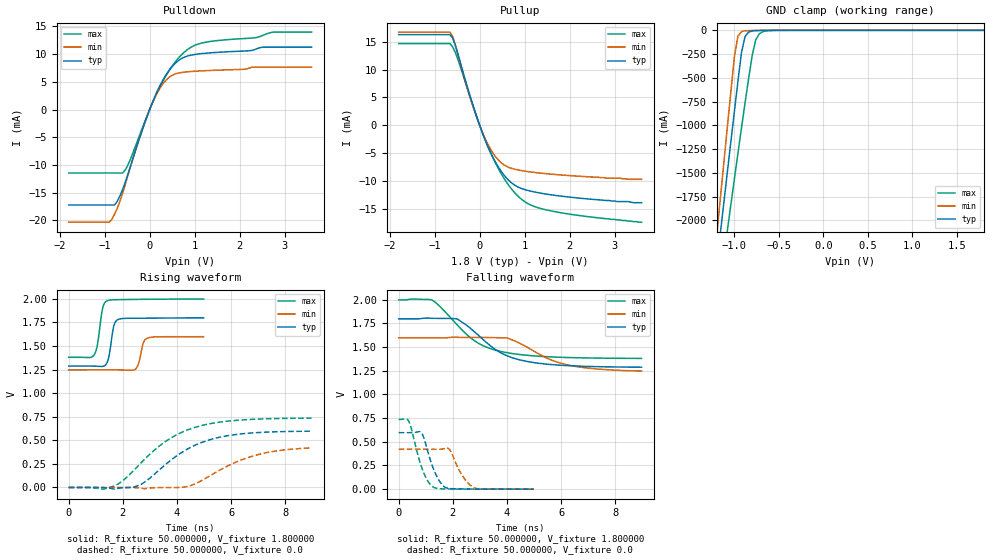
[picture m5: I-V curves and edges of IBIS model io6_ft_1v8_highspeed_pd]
| [Disclaimer]  This information is for modeling purpose only and is
| not guaranted.
| The information is subject to change without notice.
| [Copyright] Copyright 2018 STMicroelectronics Inc.
| From stm32g071_081_ufqfpn28_pd.ibs, stm32g071_081_ufqfpn28_pd, STMicroelectronics
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|   Model io6_ft_1v8_highspeed_pd
[Model]  io6_ft_1v8_highspeed_pd
Model_type I/O
Polarity   Non-Inverting
Enable   Active-Low
Vinl =   0.540000V
Vinh =   1.260000V
Vmeas =  0.900000V
Cref =   50.000000pF
Rref =   100.000000M
Vref =   0.0V
C_comp   1.277600pF   1.236700pF   1.315100pF
[Temperature Range]   25.000000   -40.000000   0.125000k
[Pullup Reference]   1.800000V   1.600000V   2.000000V
[Pulldown Reference]   0.0V   0.0V   0.0V
[POWER Clamp Reference]   1.800000V   1.600000V   2.000000V
[GND Clamp Reference]   0.0V   0.0V   0.0V
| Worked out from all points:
|   slope of the pulldown table from 0 to 0.27 V, typ, clamps not added: 54.7 ohm
|   slope of the pullup table from 0 to 0.27 V, typ, clamps not added: 50.6 ohm
|   GND clamp passes 1 mA (typ) near -0.66 V on its own axis
|   rising waveform, R_fixture 50.000000, V_fixture 1.800000: 20-80 % time 167ps typ, 169ps min, 181ps max; typ from 1.29 V to 1.8 V
|   rising waveform, R_fixture 50.000000, V_fixture 0.0: 20-80 % time 1.83ns typ, 1.87ns min, 1.92ns max; typ from 0 V to 0.597 V
|   falling waveform, R_fixture 50.000000, V_fixture 1.800000: 20-80 % time 1.51ns typ, 1.61ns min, 1.5ns max; typ from 1.8 V to 1.29 V
|   falling waveform, R_fixture 50.000000, V_fixture 0.0: 20-80 % time 438ps typ, 480ps min, 448ps max; typ from 0.597 V to 0 V
[Pulldown]
|Voltage   I(typ)   I(min)   I(max)
-1.8V     -17.22mA   -20.33mA   -11.45mA
-900mV    -17.22mA   -20.33mA   -11.45mA
-720mV    -16.58mA   -17.82mA   -11.45mA
-600mV    -14.41mA   -15.08mA   -11.45mA
-480mV    -11.58mA   -11.79mA   -9.954mA
0V        10fA       0A         100fA
240mV     4.49mA     3.999mA    4.291mA
480mV     7.563mA    6.085mA    7.612mA
780mV     9.487mA    6.76mA     10.43mA
1.14V     10.08mA    6.976mA    11.96mA
2.76V     11.26mA    7.652mA    13.98mA
3.6V      11.26mA    7.652mA    13.98mA
[Pullup]
|Voltage   I(typ)   I(min)   I(max)
-1.8V     16.28mA    16.74mA    14.68mA
-660mV    16.28mA    16.74mA    14.68mA
-600mV    15.66mA    15.96mA    14.07mA
-480mV    12.75mA    12.58mA    11.77mA
-180mV    4.421mA    4.232mA    4.226mA
120mV     -2.605mA   -2.366mA   -2.563mA
420mV     -7.546mA   -6.273mA   -7.834mA
600mV     -9.499mA   -7.385mA   -10.25mA
780mV     -10.75mA   -7.883mA   -12.12mA
1.08V     -11.72mA   -8.32mA    -14.1mA
1.44V     -12.3mA    -8.657mA   -15.11mA
3.6V      -13.9mA    -9.7mA     -17.4mA
[GND_clamp]
|Voltage   I(typ)   I(min)   I(max)
-1.8V     -7.471A    -7.973A    -7.298A
-1.2V     -2.489A    -2.18A     -2.954A
-1.16V    -2.16A     -1.797A    -2.674A
-1.08V    -1.505A    -1.034A    -2.118A
-1V       -858mA     -283.1mA   -1.568A
-960mV    -540.4mA   -62.15mA   -1.296A
-920mV    -234.4mA   -13.76mA   -1.028A
-880mV    -66.3mA    -4.868mA   -765.3mA
-800mV    -6.518mA   -2.068mA   -266mA
-760mV    -3.087mA   -1.462mA   -100.4mA
-680mV    -1.228mA   -569.1uA   -14.21mA
1.8V      47.47uA    34.04uA    59.57uA
[POWER_clamp]
|Voltage   I(typ)   I(min)   I(max)
-1.8V     0A         0A         0A
0V        0A         0A         0A
[Ramp]
| variable   typ   min   max
dV/dt_r  0.34891/1.74885n   0.20609/1.41505n   0.43449/1.86730n
dV/dt_f  0.30096/1.46389n   0.18906/1.35405n   0.36720/1.46921n
R_load = 50.000000
[Rising Waveform]
R_fixture= 50.000000
V_fixture= 1.800000
V_fixture_min= 1.600000
V_fixture_max= 2.000000
|time   V(typ)   V(min)   V(max)
0s        1.288V     1.247V     1.381V
940.9ps   1.287V     1.247V     1.407V
1.061ns   1.286V     1.247V     1.513V
1.261ns   1.284V     1.247V     1.909V
1.421ns   1.327V     1.247V     1.98V
1.662ns   1.707V     1.248V     1.991V
1.822ns   1.781V     1.247V     1.992V
2.482ns   1.795V     1.259V     1.995V
2.893ns   1.795V     1.582V     1.996V
4.985ns   1.799V     1.599V     1.998V
[Rising Waveform]
R_fixture= 50.000000
V_fixture= 0.0
V_fixture_min= 0.0
V_fixture_max= 0.0
|time   V(typ)   V(min)   V(max)
0s        525.1nV    1.221uV    -3.027uV
1.568ns   -10.4mV    -6.054uV   4.681mV
1.982ns   -3.466mV   140.2uV    68.5mV
2.505ns   13.21mV    -3.414mV   210.9mV
3.622ns   253.7mV    -975.8uV   496.6mV
4.252ns   384.5mV    3.462mV    594.3mV
4.739ns   456.8mV    48.08mV    643.6mV
5.568ns   532.7mV    181.7mV    692.7mV
6.703ns   576.9mV    324.8mV    721.3mV
8.973ns   597.1mV    421mV      735.2mV
[Falling Waveform]
R_fixture= 50.000000
V_fixture= 1.800000
V_fixture_min= 1.600000
V_fixture_max= 2.000000
|time   V(typ)   V(min)   V(max)
0s        1.799V     1.599V     1.998V
1.243ns   1.804V     1.599V     1.995V
2.144ns   1.798V     1.604V     1.74V
2.919ns   1.631V     1.603V     1.545V
3.712ns   1.45V      1.599V     1.458V
4.036ns   1.405V     1.594V     1.44V
4.721ns   1.35V      1.503V     1.414V
5.477ns   1.32V      1.384V     1.399V
6.198ns   1.305V     1.315V     1.391V
8.973ns   1.288V     1.247V     1.381V
[Falling Waveform]
R_fixture= 50.000000
V_fixture= 0.0
V_fixture_min= 0.0
V_fixture_max= 0.0
|time   V(typ)   V(min)   V(max)
0s        597.1mV    421mV      735.2mV
390.4ps   596.6mV    421mV      706mV
840.8ps   595.6mV    421.2mV    237mV
1.071ns   401.8mV    421.1mV    87.26mV
1.311ns   195.7mV    420.6mV    17.53mV
1.622ns   41.27mV    424.5mV    3.514mV
1.862ns   7.383mV    424.3mV    2.114mV
2.382ns   2.227mV    130.4mV    1.062mV
2.793ns   1.164mV    13.98mV    701.5uV
4.985ns   525.1nV    1.221uV    -3.027uV
